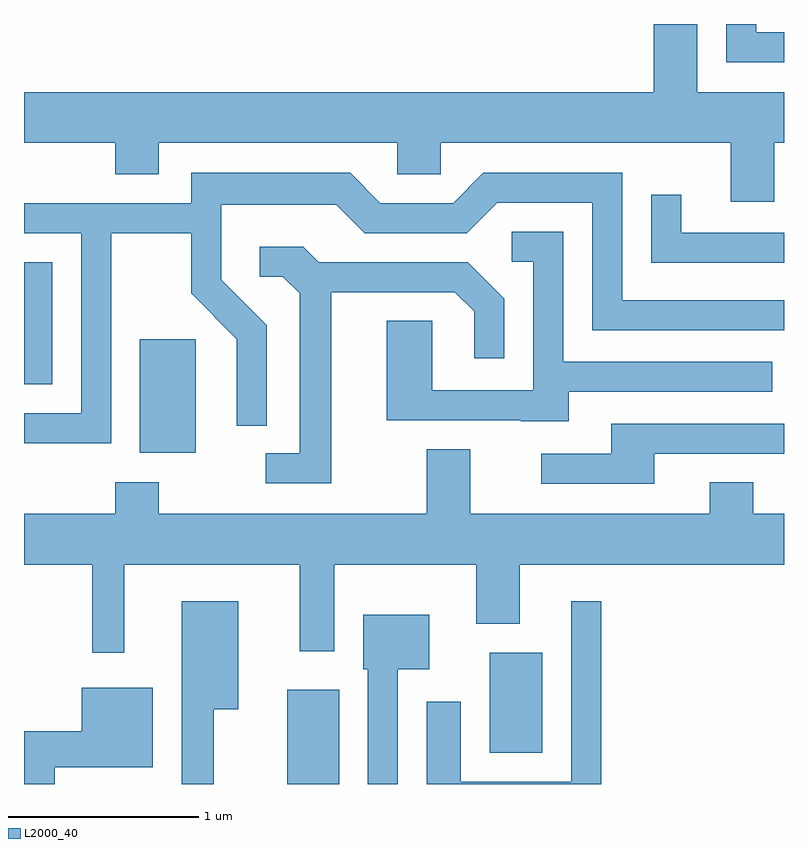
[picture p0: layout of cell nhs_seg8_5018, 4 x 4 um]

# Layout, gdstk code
import gdstk
lib = gdstk.Library(unit=1e-6, precision=1e-09)
def R(c, l, rs):  # rectangles x0, y0, x1, y1
    for r in rs: c.add(gdstk.rectangle(r[:2], r[2:], *l))
def P(c, l, *ps):  # polygons
    for p in ps: c.add(gdstk.Polygon(p, *l))
L2000_40 = (2000, 40)

nhs_seg8_5018 = lib.new_cell('nhs_seg8_5018')
R(nhs_seg8_5018, L2000_40, [(336.996,1866.342,337.269,1866.839), (338.061,1866.506,338.339,1867.034), (336.221,1868.086,336.514,1868.684), (335.611,1868.446,335.759,1869.089)])
P(nhs_seg8_5018, L2000_40, [(339.559,1869.716),(339.611,1869.716),(339.611,1869.984),(339.154,1869.984),(339.154,1870.342),(338.926,1870.342),(338.926,1869.984),(335.611,1869.984),(335.611,1869.716),(336.091,1869.716),(336.091,1869.551),(336.319,1869.551),(336.319,1869.716),(337.576,1869.716),(337.576,1869.551),(337.804,1869.551),(337.804,1869.716),(339.331,1869.716),(339.331,1869.406),(339.559,1869.406)],
  [(339.611,1870.299),(339.464,1870.299),(339.464,1870.342),(339.306,1870.342),(339.306,1870.141),(339.611,1870.141)],
  [(336.069,1869.241),(336.491,1869.241),(336.491,1868.924),(336.731,1868.684),(336.731,1868.228),(336.889,1868.228),(336.889,1868.757),(336.649,1868.997),(336.649,1869.391),(337.254,1869.391),(337.404,1869.241),(337.942,1869.241),(338.102,1869.401),(338.601,1869.401),(338.601,1868.731),(339.611,1868.731),(339.611,1868.889),(338.759,1868.889),(338.759,1869.559),(338.029,1869.559),(337.869,1869.399),(337.487,1869.399),(337.327,1869.559),(336.491,1869.559),(336.491,1869.399),(335.611,1869.399),(335.611,1869.241),(335.911,1869.241),(335.911,1868.294),(335.611,1868.294),(335.611,1868.136),(336.069,1868.136)],
  [(339.611,1869.244),(339.069,1869.244),(339.069,1869.443),(338.911,1869.443),(338.911,1869.086),(339.611,1869.086)],
  [(338.479,1868.406),(339.548,1868.406),(339.548,1868.564),(338.449,1868.564),(338.449,1869.249),(338.178,1869.249),(338.178,1869.091),(338.291,1869.091),(338.291,1868.414),(337.759,1868.414),(337.759,1868.779),(337.521,1868.779),(337.521,1868.256),(338.225,1868.256),(338.225,1868.251),(338.479,1868.251)],
  [(337.229,1868.931),(337.879,1868.931),(337.981,1868.829),(337.981,1868.583),(338.139,1868.583),(338.139,1868.897),(337.947,1869.089),(337.162,1869.089),(337.082,1869.169),(336.853,1869.169),(336.853,1869.011),(336.974,1869.011),(337.061,1868.924),(337.061,1868.084),(336.883,1868.084),(336.883,1867.926),(337.229,1867.926)],
  [(338.929,1868.081),(339.611,1868.081),(339.611,1868.239),(338.701,1868.239),(338.701,1868.079),(338.333,1868.079),(338.333,1867.921),(338.929,1867.921)],
  [(336.139,1867.496),(337.061,1867.496),(337.061,1867.041),(337.244,1867.041),(337.244,1867.496),(337.991,1867.496),(337.991,1867.186),(338.219,1867.186),(338.219,1867.496),(339.611,1867.496),(339.611,1867.764),(339.449,1867.764),(339.449,1867.929),(339.221,1867.929),(339.221,1867.764),(337.959,1867.764),(337.959,1868.104),(337.731,1868.104),(337.731,1867.764),(336.319,1867.764),(336.319,1867.929),(336.091,1867.929),(336.091,1867.764),(335.611,1867.764),(335.611,1867.496),(335.971,1867.496),(335.971,1867.033),(336.139,1867.033)],
  [(336.609,1866.736),(336.739,1866.736),(336.739,1867.304),(336.441,1867.304),(336.441,1866.342),(336.609,1866.342)],
  [(338.649,1867.303),(338.491,1867.303),(338.491,1866.354),(337.909,1866.354),(337.909,1866.774),(337.731,1866.774),(337.731,1866.342),(338.649,1866.342)],
  [(337.579,1866.946),(337.744,1866.946),(337.744,1867.234),(337.396,1867.234),(337.396,1866.946),(337.421,1866.946),(337.421,1866.342),(337.579,1866.342)],
  [(335.774,1866.431),(336.289,1866.431),(336.289,1866.849),(335.916,1866.849),(335.916,1866.619),(335.611,1866.619),(335.611,1866.342),(335.774,1866.342)])

lib.write_gds('nhs_seg8_5018.gds')
